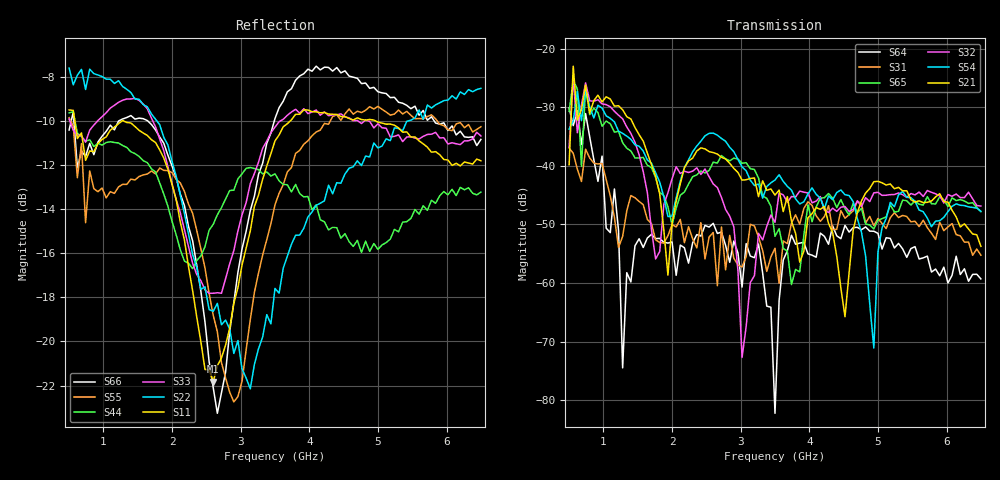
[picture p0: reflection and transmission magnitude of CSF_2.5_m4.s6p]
!Keysight Technologies,M9804A,MY58100912,A.14.10.03
!Date: Thursday, April 27, 2023 10:28:33
!Correction: S11(C  6-Port  )
!S12(C  6-Port  )
!S13(C  6-Port  )
!S14(C  6-Port  )
!S15(C  6-Port  )
!S16(C  6-Port  )
!S21(C  6-Port  )
!S22(C  6-Port  )
!S23(C  6-Port  )
!S24(C  6-Port  )
!S25(C  6-Port  )
!S26(C  6-Port  )
!S31(C  6-Port  )
!S32(C  6-Port  )
!S33(C  6-Port  )
!S34(C  6-Port  )
!S35(C  6-Port  )
!S36(C  6-Port  )
!S41(C  6-Port  )
!S42(C  6-Port  )
!S43(C  6-Port  )
!S44(C  6-Port  )
!S45(C  6-Port  )
!S46(C  6-Port  )
!S51(C  6-Port  )
!S52(C  6-Port  )
!S53(C  6-Port  )
!S54(C  6-Port  )
!S55(C  6-Port  )
!S56(C  6-Port  )
!S61(C  6-Port  )
!S62(C  6-Port  )
!S63(C  6-Port  )
!S64(C  6-Port  )
!S65(C  6-Port  )
!S66(C  6-Port  )
!S6P File: Measurement: :
# Hz S  RI  R 50
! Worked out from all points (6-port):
!   101 points, 500 MHz to 6.5 GHz, reference 50 ohm
!   strongest paths, dB at 500 MHz, 2 GHz, 3.5 GHz, 5 GHz, 6.5 GHz:
!     S21: -39.8, -49.8, -45.0, -42.7, -53.7
!     S54: -33.7, -48.6, -42.4, -54.7, -47.8
!     S32: -36.8, -42.2, -49.6, -44.5, -46.9
!     S65: -30.7, -50.1, -52.0, -49.3, -47.8
!     S31: -37.0, -50.0, -54.1, -49.0, -55.3
!     S64: -30.1, -53.0, -82.3, -51.5, -59.3
!   lowest |S11| = -21.8 dB at 2.6 GHz (marker M1), VSWR 1.18, Z = 42.7 + j1.94 ohm
!   |S11| at or under -10 dB: 582.5 MHz to 1.271 GHz (688.4 MHz wide, 74.3 % of centre); 1.294 GHz to 3.722 GHz (2.428 GHz wide, 96.8 % of centre); 4.965 GHz to end of sweep
